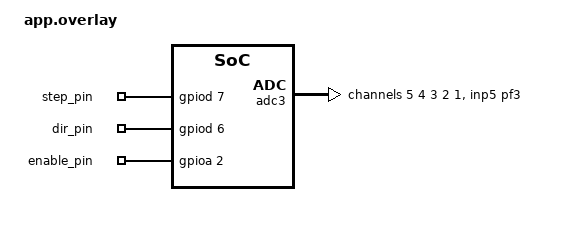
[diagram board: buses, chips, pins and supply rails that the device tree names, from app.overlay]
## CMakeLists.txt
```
cmake_minimum_required(VERSION 3.22)

set(ZEPHYR_TOOLCHAIN_VARIANT zephyr)

find_package(Zephyr REQUIRED HINTS $ENV{ZEPHYR_BASE})
project(app)

# this didn't work when this was called app. It must be called app because... TO-DO...
target_sources(app PRIVATE
  src/main.c
  src/motor.c
  src/adc.c
  src/sensor.c
)

target_include_directories(app PRIVATE ${CMAKE_CURRENT_SOURCE_DIR}/include)
```

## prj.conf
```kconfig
# doesnt need anything because we are using the default configuration from the board
# CONFIG_COMPILER_OPT="-mlongcalls"

# Core kernel + logging/print
CONFIG_CONSOLE=y
CONFIG_PRINTK=y
CONFIG_LOG=y
CONFIG_LOG_DEFAULT_LEVEL=3

# GPIO (for LED blink)
CONFIG_GPIO=y

# UART console (needed for printk over serial)
CONFIG_SERIAL=y
CONFIG_UART_CONSOLE=y
CONFIG_LOG_BACKEND_UART=y

# State machine
CONFIG_SMF=y
```

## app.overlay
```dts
/ {
    aliases {
        step   = &step_pin;
        dir    = &dir_pin;
        enable = &enable_pin;
    };
    photo_sensor_a: photo_sensor_a {
        gpios = <&gpioe 5 GPIO_ACTIVE_HIGH>;
    };

    /* Parent grouping node for the stepper control signals */
    stepper_motor: stepper_motor {
        compatible = "gpio-leds";
        step_pin: step_pin {
            gpios = <&gpiod 7 GPIO_ACTIVE_HIGH>;
        };
        dir_pin: dir_pin {
            gpios = <&gpiod 6 GPIO_ACTIVE_HIGH>;
        };
        /* ENABLE pin: PA2 */
        enable_pin: enable_pin {
            gpios = <&gpioa 2 GPIO_ACTIVE_HIGH>;
        };

    };
};
&adc3 {
    status = "okay";
    pinctrl-0 = <&adc3_inp5_pf3>;
    pinctrl-names = "default";
    #address-cells = <1>;
    #size-cells = <0>;
    // PF3 - channel 5
    channel@5 {
        reg = <5>;
        zephyr,gain = "ADC_GAIN_1";
        zephyr,reference = "ADC_REF_VDD_1";
        zephyr,acquisition-time = <ADC_ACQ_TIME_DEFAULT>;
        zephyr,resolution = <16>;
    };
    // PF5 - channel 4
    channel@4 {
        reg = <4>;
        zephyr,gain = "ADC_GAIN_1";
        zephyr,reference = "ADC_REF_VDD_1";
        zephyr,acquisition-time = <ADC_ACQ_TIME_DEFAULT>;
        zephyr,resolution = <16>;
    };
    // PF7 - channel 3
    channel@3 {
        reg = <3>;
        zephyr,gain = "ADC_GAIN_1";
        zephyr,reference = "ADC_REF_VDD_1";
        zephyr,acquisition-time = <ADC_ACQ_TIME_DEFAULT>;
        zephyr,resolution = <16>;
    };
    // PF9 - channel 2
    channel@2 {
        reg = <2>;
        zephyr,gain = "ADC_GAIN_1";
        zephyr,reference = "ADC_REF_VDD_1";
        zephyr,acquisition-time = <ADC_ACQ_TIME_DEFAULT>;
        zephyr,resolution = <16>;
    };
    // PC3_C - channel 1
    channel@1 {
        reg = <1>;
        zephyr,gain = "ADC_GAIN_1";
        zephyr,reference = "ADC_REF_VDD_1";
        zephyr,acquisition-time = <ADC_ACQ_TIME_DEFAULT>;
        zephyr,resolution = <16>;
    };
};
```

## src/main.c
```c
// #include <stdio.h>
#include <zephyr/kernel.h>
// zephyr/device.h is included eventually through kernel.h
#include <zephyr/drivers/gpio.h>
#include <zephyr/logging/log.h>

LOG_MODULE_REGISTER(main, LOG_LEVEL_INF);   // register your module


#include "motor.h"
#include "screen.h"
#include "adc.h"
#include "sensor.h"
// #include "heating_motor.h"   // Will have different gear ratio
// #include "molding_motor.h"   // Will have different gear ratio  
// #include "cutting_motor.h"   // Will have different gear ratio

#define LED0_NODE DT_ALIAS(led0)
static const struct gpio_dt_spec led0 = GPIO_DT_SPEC_GET(LED0_NODE, gpios);

 //static const struct gpio_dt_spec photo_spec_a =
  //  GPIO_DT_SPEC_GET(DT_NODELABEL(photo_sensor_a), gpios);

//static const struct gpio_dt_spec photo_spec_b =
   // GPIO_DT_SPEC_GET(DT_NODELABEL(photo_sensor_b), gpios);



int main(void)

{
        //  k_msleep(5000);
        //  CurrentSense_Init(1);
        //  k_msleep(5000);

   //while (1) {
//         float current = CurrentSense_ReadCurrent();
//         k_msleep(500);
//         bool overcurrent = CurrentSense_IsOvercurrent();

//         float voltage = CurrentSense_ReadCurrent(); //use variable to feed into sensing pins; voltage is in mV
//         k_msleep(500);
//         LOG_INF("voltage: %d mV", (int)(voltage * 1000));
//         k_msleep(500);
//       //  bool overcurrent = CurrentSense_IsOvercurrent();
//        int current_mA = (int)(current * 1000.0f);
// LOG_INF("Current: %d mA, Overcurrent: %s",
//        current_mA,
//        overcurrent ? "YES" : "NO");

     //   k_msleep(500);
    
  //  }

  // sensor.c code
// photo_sensor_config_t cfg = {
//         .specs = { &photo_spec_a, &photo_spec_b },
//         .debounce_ms = 20, // 20 ms debounce
//     };

//     photo_sensor_init(cfg);

//     while (1) {
//         bool sensor = photo_sensor_read_debounced();
//         //state_machine_update(sensor); // feed your state machine
//         k_msleep(1); // call every 1 ms for debouncing
//     }
  photo_sensor_init(20); // 20 ms debounce

    while (1) {
        photo_sensor_tick_1ms();
        bool triggered = photo_sensor_read_debounced();

        if (triggered) {
            printk("Sensor triggered -> start motor\n");
        } else {
            printk("Sensor idle -> stop motor\n");
        }

        k_msleep(1);
   }
    // gpio_pin_configure_dt(&led0, GPIO_OUTPUT_INACTIVE);

    // if (motor_init() != 0) {
    //     while (1) { gpio_pin_toggle_dt(&led0); k_msleep(100); }
    // }

    // printk("Stepper Motor Ready\n");

    // // Example 1: Start motor clockwise
    // motor_run(true, CLOCKWISE, 800);     // Turn ON, clockwise, 800us delay
    
    // k_msleep(3000);                      // Run for 3 seconds
    
    // // Example 2: Change speed while running (keep same direction)
    // motor_run(true, CLOCKWISE, 500);     // Still ON, CW, but faster
    
    // k_msleep(2000);                      // Run for 2 more seconds
    
    // // Example 3: Change direction while running
    // motor_run(true, COUNTER_CLOCKWISE, 500);  // Still ON, but now CCW
    
    // k_msleep(2000);
    
    // // Example 4: Stop the motor
    // motor_run(false, CLOCKWISE, 0);      // Turn OFF (direction/delay don't matter)
    
    // k_msleep(1000);                      // Pause
    
    // // Example 5: Use blocking rotation for precise movement
    // rotateSteps(TOTAL_STEPS, CLOCKWISE, 1000);  // Rotate exactly 1 full revolution
    
    // k_msleep(500);
    
    // // Example 6: Restart continuous operation
    // motor_run(true, COUNTER_CLOCKWISE, 1000);
    
    // k_msleep(3000);
    
    // motor_run(false, CLOCKWISE, 0);      // Turn OFF
    
    // // Main loop for your bead project
    // while (1) {
    //     gpio_pin_toggle_dt(&led0);
    //     k_msleep(1000);
        
    //     // Your bead-making workflow:
    //     // 1. Wait for user to select bead count on LCD
    //     // 2. Wait for heaters to warm up
    //     // 3. Wait for start button press
    //     // 4. Start heating motor: motor_run(true, 800);
    //     // 5. Start molding motor: molding_motor_run(true, 800);
    //     // 6. Wait for photoelectric sensor
    //     // 7. After 3 seconds, stop motors for cutting
    //     // 8. Do cutting with current sensing
    //     // 9. Restart motors and repeat until bead count reached

    // }
}
```

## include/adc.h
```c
#ifndef ADC_CURRENT_SENSE_H
#define ADC_CURRENT_SENSE_H

#include <zephyr/device.h>
#include <zephyr/drivers/adc.h>
#include <zephyr/kernel.h>
#include <stdbool.h>

/* ------------------------------------------------------------
   ADC Configuration
   ------------------------------------------------------------ */
#define CURRENT_SENSE_ADC_NODE      DT_NODELABEL(adc3)   // ADC3 on PF3
#define CURRENT_SENSE_CHANNEL       1                // PF3 = ADC3_INP5, PF5 = ADC_INP4, PF7 = ADC_INP3, PF9 = ADC_INP2, PC3_C = ADC_INP1
#define ADC_RESOLUTION              16                  // 16-bit ADC
#define ADC_REFERENCE_VOLTAGE       3.3f                // VDDA
#define CURRENT_SENSE_GAIN          1.5f                // V per Amp
#define MOTOR_OVERCURRENT_LIMIT_A   2.4f                // Motor threshold
//const struct adc_dt_spec current_adc;

/* ------------------------------------------------------------
   Public API
   ------------------------------------------------------------ */

/**
 * @brief Initialize ADC for current sensing.
 * Sets up ADC channel and prepares the sequence for sampling.
 */
void CurrentSense_Init(int current_sense_channel);

/**
 * @brief Read the current from the ADC and convert to Amps.
 * @return Current in Amps (float)
 */
float CurrentSense_ReadCurrent(void);

/**
 * @brief Check if the current exceeds the overcurrent threshold.
 * @return true if overcurrent detected, false otherwise
 */
bool CurrentSense_IsOvercurrent(void);

#endif // ADC_CURRENT_SENSE_H
```

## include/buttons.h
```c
// Button logic for up, down, left, right, and select with debouncing
#ifndef BUTTONS_H_
#define BUTTONS_H_

#include <stdint.h>
#include <stdbool.h>

/* Button identifiers */
typedef enum {
    BUTTON_UP,
    BUTTON_DOWN,
    BUTTON_LEFT,
    BUTTON_RIGHT,
    BUTTON_SELECT,
    BUTTON_COUNT  /* Total number of buttons */
} button_id_t;

/* Button event types */
typedef enum {
    BUTTON_EVENT_NONE,
    BUTTON_EVENT_PRESSED,   /* Button was just pressed */
    BUTTON_EVENT_RELEASED,  /* Button was just released */
    BUTTON_EVENT_HELD       /* Button is being held down */
} button_event_t;

/* Button callback function type */
typedef void (*button_callback_t)(button_id_t button, button_event_t event);

/* Initialize button GPIO and debouncing */
int buttons_init(void);

/* Poll all buttons - call this regularly (e.g., every 10ms) */
void buttons_poll(void);

/* Get current state of a button (true = pressed) */
bool button_is_pressed(button_id_t button);

/* Get button event (clears event after reading) */
button_event_t button_get_event(button_id_t button);

/* Register a callback for button events */
void buttons_set_callback(button_callback_t callback);

#endif /* BUTTONS_H_ */
```

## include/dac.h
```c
// DAC setup and control functions for heater power regulation
```

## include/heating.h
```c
// Heater control logic (startup heating, temperature monitoring, and power limiting via DAC)
```

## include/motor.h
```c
#ifndef MOTOR_H_
#define MOTOR_H_

#include <zephyr/kernel.h>
#include <zephyr/drivers/gpio.h>

// Motor + gearbox constants for this specific motor
#define MOTOR_STEPS_PER_REV 200          // 1.8° stepper → 200 full steps/rev
#define GEAR_RATIO          10           // 20:1 planetary gearbox
#define STEPS_PER_REV       MOTOR_STEPS_PER_REV
#define TOTAL_STEPS         (STEPS_PER_REV * GEAR_RATIO)   // 200 * 20 = 4000

// Direction definitions
#define CLOCKWISE           true
#define COUNTER_CLOCKWISE   false

/* Simple motor API */
int  motor_init(void);                                    // config pins, wake/enable driver
void motor_enable(bool en);                               // enable/disable outputs
void motor_run(bool on, bool direction, int delay_us);    // Turn motor on/off, set direction and speed
void rotateSteps(int steps, bool direction, int delay_us);// Blocking rotate for specific steps
bool motor_is_running(void);                              // Check if motor is currently running

#endif
```

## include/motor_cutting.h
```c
#ifndef MOTOR_CUTTING_H_
#define MOTOR_CUTTING_H_

#include <zephyr/kernel.h>
#include <zephyr/drivers/gpio.h>

// Motor + gearbox constants for this specific motor
#define MOTOR_STEPS_PER_REV 200          // 1.8° stepper → 200 full steps/rev
#define GEAR_RATIO          20           // 20:1 planetary gearbox
#define STEPS_PER_REV       MOTOR_STEPS_PER_REV
#define TOTAL_STEPS         (STEPS_PER_REV * GEAR_RATIO)   // 200 * 20 = 4000

// Direction definitions
#define CLOCKWISE           true
#define COUNTER_CLOCKWISE   false

/* Simple motor API */
int  cutting_motor_init(void);                                    // config pins, wake/enable driver
void cutting_motor_enable(bool en);                               // enable/disable outputs
void cutting_motor_run(bool on, bool direction, int delay_us);    // Turn motor on/off, set direction and speed
void cutting_rotateSteps(int steps, bool direction, int delay_us);// Blocking rotate for specific steps
bool cutting_motor_is_running(void);                              // Check if motor is currently running

#endif
```

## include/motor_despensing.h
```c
#ifndef MOTOR_DESPENSING_H_
#define MOTOR_DESPENSING_H_

#include <zephyr/kernel.h>
#include <zephyr/drivers/gpio.h>

// Motor + gearbox constants for this specific motor
#define MOTOR_STEPS_PER_REV 200          // 1.8° stepper → 200 full steps/rev
#define GEAR_RATIO          5.18           // 5.18:1 planetary gearbox
#define STEPS_PER_REV       MOTOR_STEPS_PER_REV
#define TOTAL_STEPS         (STEPS_PER_REV * GEAR_RATIO)   // 200 * 20 = 4000

// Direction definitions
#define CLOCKWISE           true
#define COUNTER_CLOCKWISE   false

/* Simple motor API */
int  despensing_motor_init(void);                                    // config pins, wake/enable driver
void despensing_motor_enable(bool en);                               // enable/disable outputs
void despensing_motor_run(bool on, bool direction, int delay_us);    // Turn motor on/off, set direction and speed
void despensing_rotateSteps(int steps, bool direction, int delay_us);// Blocking rotate for specific steps
bool despensing_motor_is_running(void);                              // Check if motor is currently running

#endif
```

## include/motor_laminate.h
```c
#ifndef MOTOR_LAMINATE_H_
#define MOTOR_LAMINATE_H_

#include <zephyr/kernel.h>
#include <zephyr/drivers/gpio.h>

// Motor + gearbox constants for this specific motor
#define MOTOR_STEPS_PER_REV 200          // 1.8° stepper → 200 full steps/rev
#define GEAR_RATIO          10           // 10:1 planetary gearbox
#define STEPS_PER_REV       MOTOR_STEPS_PER_REV
#define TOTAL_STEPS         (STEPS_PER_REV * GEAR_RATIO)   // 200 * 20 = 4000

// Direction definitions
#define CLOCKWISE           true
#define COUNTER_CLOCKWISE   false

/* Simple motor API */
int  laminate_motor_init(void);                                    // config pins, wake/enable driver
void laminate_motor_enable(bool en);                               // enable/disable outputs
void laminate_motor_run(bool on, bool direction, int delay_us);    // Turn motor on/off, set direction and speed
void laminate_rotateSteps(int steps, bool direction, int delay_us);// Blocking rotate for specific steps
bool laminate_motor_is_running(void);                              // Check if motor is currently running

#endif
```

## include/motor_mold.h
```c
#ifndef MOTOR_MOLD_H_
#define MOTOR_MOLD_H_

#include <zephyr/kernel.h>
#include <zephyr/drivers/gpio.h>

// Motor + gearbox constants for this specific motor
#define MOTOR_STEPS_PER_REV 200          // 1.8° stepper → 200 full steps/rev
#define GEAR_RATIO          15.3           // 15.3:1 planetary gearbox
#define STEPS_PER_REV       MOTOR_STEPS_PER_REV
#define TOTAL_STEPS         (STEPS_PER_REV * GEAR_RATIO)   // 200 * 20 = 4000

// Direction definitions
#define CLOCKWISE           true
#define COUNTER_CLOCKWISE   false

/* Simple motor API */
int  mold_motor_init(void);                                    // config pins, wake/enable driver
void mold_motor_enable(bool en);                               // enable/disable outputs
void mold_motor_run(bool on, bool direction, int delay_us);    // Turn motor on/off, set direction and speed
void mold_rotateSteps(int steps, bool direction, int delay_us);// Blocking rotate for specific steps
bool mold_motor_is_running(void);                              // Check if motor is currently running

#endif
```

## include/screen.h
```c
#ifndef SCREEN_H_
#define SCREEN_H_

#include <zephyr/kernel.h>
#include <zephyr/drivers/display.h>

/**
 * Initialize the ILI9340 display.
 *
 * Returns 0 on success, negative errno on error.
 */
int screen_init(void);

/**
 * Fill the whole screen with a solid RGB565 color.
 */
void screen_fill(uint16_t color);

/**
 * Simple test: draw a vertical color gradient.
 */
void screen_draw_test_pattern(void);

#endif /* SCREEN_H_ */
```

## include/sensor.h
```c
#ifndef SENSOR_H
#define SENSOR_H

#include <zephyr/kernel.h>
#include <zephyr/drivers/gpio.h>
#include <stdint.h>
#include <stdbool.h>

/**
 * @brief Initialize the photoelectric sensor on PE5.
 * @param debounce_ms Debounce time in milliseconds.
 */
void photo_sensor_init(uint16_t debounce_ms);

/**
 * @brief Read the raw sensor state (non-debounced).
 */
bool photo_sensor_read(void);

/**
 * @brief Read the debounced sensor state.
 */
bool photo_sensor_read_debounced(void);

/**
 * @brief Call every 1 ms to update debouncing.
 */
void photo_sensor_tick_1ms(void);

#endif // SENSOR_H
```

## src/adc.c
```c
// // ADC setup and current sensing logic (including the 2.4A threshold detection for the cutting motor)
// // ADC3;
// // five channels in adc pin
// // figure out how to read current and temperature with the pins
// // when we reach 3.2V, turn off motor driver
// // 16-bit adc
#include "adc.h"
 #include <zephyr/logging/log.h>
LOG_MODULE_REGISTER(adc_sense, LOG_LEVEL_INF);
/* ADC device + sequence */
static const struct device *adc_dev;
static struct adc_dt_spec current_adc;
static uint16_t adc_buf;  // Changed to unsigned

void CurrentSense_Init(int current_sense_channel)
{
    /* Get ADC device spec using device tree */
    current_adc = (struct adc_dt_spec) {
        .dev = DEVICE_DT_GET(CURRENT_SENSE_ADC_NODE),
        .channel_id = current_sense_channel, // changed to variable
        .resolution = ADC_RESOLUTION,
        .oversampling = 0,
        .channel_cfg = {
            .gain = ADC_GAIN_1,
            .reference = ADC_REF_VDD_1,
            .acquisition_time = ADC_ACQ_TIME_DEFAULT,
            .differential = 0,
        },
        .vref_mv = 3300,  // 3.3V reference in millivolts
    };
    if (!device_is_ready(current_adc.dev)) {
        LOG_ERR("ADC device not ready");
        return;
    }
    /* Setup the ADC channel */
    if (adc_channel_setup_dt(&current_adc) != 0) {
        LOG_ERR("Failed to setup ADC channel");
        return;
    }
  //  LOG_INF("ADC device ready: %p, channel: %d, vref: %d mV",
      //      current_adc.dev, current_sense_channel, current_adc.vref_mv);
    //return current_adc.vref_mv;
}
 float CurrentSense_ReadCurrent(void)
 {
     int ret;
     struct adc_sequence seq = {
         .channels = BIT(current_adc.channel_id),
         .buffer = &adc_buf,
         .buffer_size = sizeof(adc_buf),
         .resolution = current_adc.resolution,
     };
     ret = adc_read_dt(&current_adc, &seq);
     if (ret != 0) {
         LOG_WRN("ADC read failed (%d)", ret);
         return 0.0f;
     }
     /* Manual conversion: raw value / max_value * reference_voltage */
     uint32_t max_value = (1 << ADC_RESOLUTION) - 1;  // 65535 for 16-bit
     float voltage = ((float)adc_buf / (float)max_value) * ADC_REFERENCE_VOLTAGE;
    // LOG_INF("ADC raw: %d, max: %u, voltage: %d mV",
        //     (int)adc_buf, max_value, (int)(voltage * 1000));
     /* Convert voltage to current */
    // return voltage / CURRENT_SENSE_GAIN;
     return voltage;
 }
bool CurrentSense_IsOvercurrent(void)
{
    float current = CurrentSense_ReadCurrent();
    return (current >= MOTOR_OVERCURRENT_LIMIT_A);
}
```
